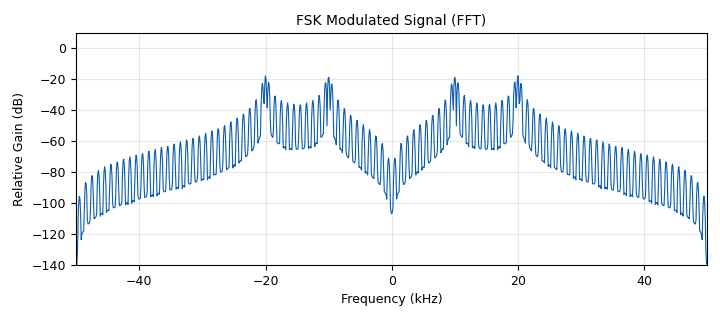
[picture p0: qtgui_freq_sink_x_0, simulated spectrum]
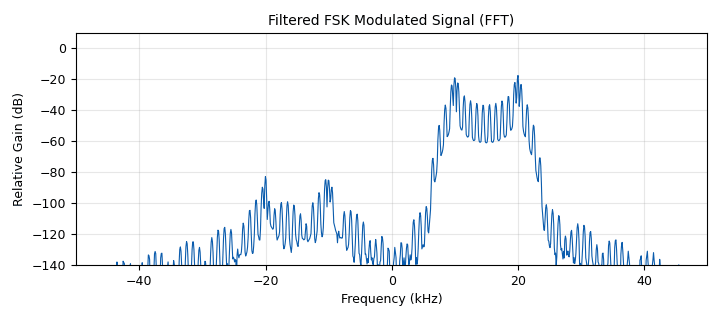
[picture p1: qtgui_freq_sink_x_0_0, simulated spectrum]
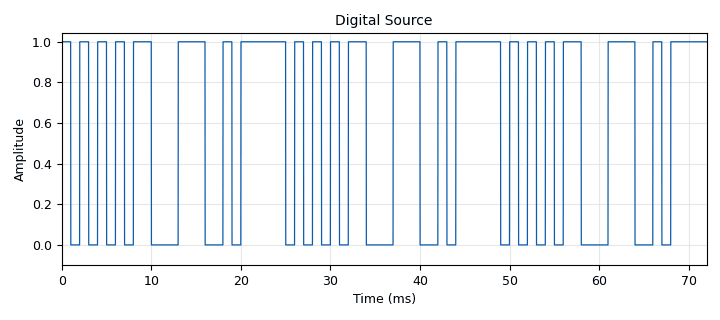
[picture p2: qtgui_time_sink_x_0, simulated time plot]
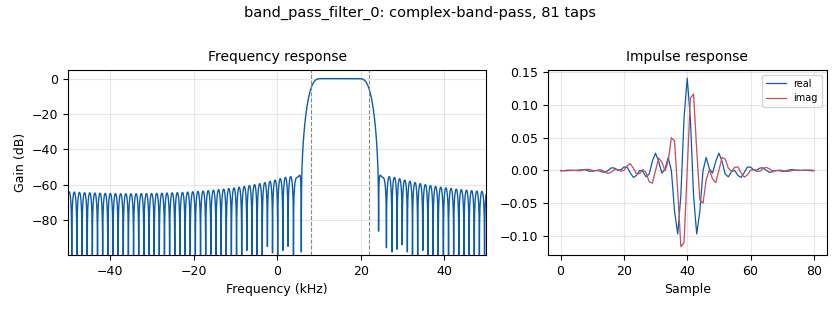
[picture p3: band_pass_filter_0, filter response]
options:
  parameters:
    author: sneak
    generate_options: qt_gui
    id: FSK_transmit
    output_language: python
    title: FSK transmit
  states: {}

blocks:
- name: bit_repeat
  id: variable
  parameters:
    value: '100'
  states: {}
- name: gain
  id: variable
  parameters:
    value: '1'
  states: {}
- name: num_src_bits
  id: variable
  parameters:
    comment: 8675309 as nibbles
    value: len(src_bits)
  states: {}
- name: original_src_bits
  id: variable
  parameters:
    comment: 8675309 as nibbles
    value: (1,0,0,0,0,1,1,0,0,1,0,1,0,0,1,1,0,0,0,0,1,0,0,1)
  states: {}
- name: samp_rate
  id: variable
  parameters:
    value: '100000'
  states: {}
- name: should_transmit
  id: variable_qtgui_check_box
  parameters:
    'false': '0.0'
    gui_hint: '[0, 0, 1, 1]'
    label: Transmit Message?
    'true': '1.0'
    type: real
    value: '1.0'
  states: {}
- name: src_bits
  id: variable
  parameters:
    comment: 8675309 as nibbles
    value: (1,0,1,0,1,0,1,0,1,1,0,0,0,1,1,1,0,0,1,0,1,1,1,1)
  states: {}
- name: tx_freq
  id: variable
  parameters:
    value: 903.1e6
  states: {}
- name: tx_gain
  id: variable_qtgui_range
  parameters:
    gui_hint: '[0,1,1,2]'
    start: '1'
    step: '1'
    stop: '90'
    value: '50'
    widget: eng_slider
  states: {}
- name: tx_shift
  id: variable
  parameters:
    value: 10e3
  states: {}
- name: upsamp_rate
  id: variable
  parameters:
    value: samp_rate*1
  states: {}
- name: variable_band_pass_filter_taps_0
  id: variable_band_pass_filter_taps
  parameters:
    gain: '1.0'
    high_cutoff_freq: '22000'
    low_cutoff_freq: '8000'
    samp_rate: samp_rate
    type: complex_band_pass
    width: '3000'
    win: window.WIN_HAMMING
  states: {state: disabled}
- name: analog_const_source_x_0_0
  id: analog_const_source_x
  parameters:
    const: '1'
    type: float
  states: {}
- name: analog_sig_source_x_0_0
  id: analog_sig_source_x
  parameters:
    amp: gain
    comment: 1's
    freq: '20000'
    offset: '0'
    phase: '0'
    samp_rate: samp_rate
    type: float
    waveform: analog.GR_COS_WAVE
  states: {}
- name: analog_sig_source_x_0_0_0
  id: analog_sig_source_x
  parameters:
    amp: gain
    comment: 0's
    freq: '10000'
    offset: '0'
    phase: '0'
    samp_rate: samp_rate
    type: float
    waveform: analog.GR_COS_WAVE
  states: {}
- name: band_pass_filter_0
  id: band_pass_filter
  parameters:
    decim: '1'
    gain: '1'
    high_cutoff_freq: '22000'
    low_cutoff_freq: '8000'
    samp_rate: samp_rate
    type: fir_filter_ccc
    width: '3000'
    win: window.WIN_HAMMING
  states: {}
- name: blocks_add_xx_0
  id: blocks_add_xx
  parameters:
    comment: |-
      high = 20 kHz
      low = 10 kHz
    type: float
  states: {}
- name: blocks_float_to_complex_0
  id: blocks_float_to_complex
  parameters: {}
  states: {}
- name: blocks_multiply_const_vxx_0
  id: blocks_multiply_const_vxx
  parameters:
    comment: TX/no-TX gate
    const: should_transmit
    type: float
  states: {}
- name: blocks_multiply_xx_0_0
  id: blocks_multiply_xx
  parameters:
    type: float
  states: {}
- name: blocks_multiply_xx_0_0_0
  id: blocks_multiply_xx
  parameters:
    type: float
  states: {}
- name: blocks_repeat_0
  id: blocks_repeat
  parameters:
    comment: 2400 samples
    interp: bit_repeat
    type: float
  states: {}
- name: blocks_sub_xx_0
  id: blocks_sub_xx
  parameters:
    type: float
  states: {}
- name: blocks_vector_source_x_0
  id: blocks_vector_source_x
  parameters:
    repeat: 'True'
    type: float
    vector: src_bits
  states: {}
- name: iio_pluto_sink_0
  id: iio_pluto_sink
  parameters:
    attenuation1: 89-tx_gain
    bandwidth: upsamp_rate
    buffer_size: '32768'
    cyclic: 'False'
    filter_source: '''Auto'''
    frequency: int(tx_freq)
    samplerate: upsamp_rate
    type: fc32
  states: {state: disabled}
- name: interp_fir_filter_xxx_0
  id: interp_fir_filter_xxx
  parameters:
    interp: '1'
    type: ccc
  states: {state: disabled}
- name: qtgui_freq_sink_x_0
  id: qtgui_freq_sink_x
  parameters:
    bw: samp_rate
    fc: '0'
    fftsize: '1024'
    gui_hint: tab@1
    name: FSK Modulated Signal (FFT)
    type: complex
  states: {}
- name: qtgui_freq_sink_x_0_0
  id: qtgui_freq_sink_x
  parameters:
    bw: samp_rate
    fc: '0'
    fftsize: '1024'
    gui_hint: tab@2
    name: Filtered FSK Modulated Signal (FFT)
    type: complex
  states: {}
- name: qtgui_time_sink_x_0
  id: qtgui_time_sink_x
  parameters:
    gui_hint: tab@0
    name: Digital Source
    size: num_src_bits*bit_repeat*3
    srate: samp_rate
    tr_delay: '100e-6'
    type: float
    ymin: '-0.1'
  states: {}
- name: qtgui_time_sink_x_1
  id: qtgui_time_sink_x
  parameters:
    gui_hint: 'tab@0: [1,1,1,2]'
    name: FSK Modulated Signal
    size: '16384'
    srate: samp_rate
    tr_delay: '0.1e-3'
    tr_level: '500'
    tr_mode: qtgui.TRIG_MODE_AUTO
    type: complex
    ymax: '1100'
    ymin: '-1100'
  states: {state: disabled}
- name: tab
  id: qtgui_tab_widget
  parameters:
    label0: digital source
    label1: D/A
    label2: TX-ready data
    num_tabs: '3'
  states: {}
- name: uhd_usrp_sink_0
  id: uhd_usrp_sink
  parameters:
    ant0: '"TX/RX"'
    center_freq0: int(tx_freq)
    dev_addr: '"serial=3213618"'
    gain0: tx_gain
    samp_rate: upsamp_rate
    sync: none
    type: fc32
  states: {}
- name: virtual_sink_0
  id: virtual_sink
  parameters:
    stream_id: fsk_mod_source
  states: {}
- name: virtual_sink_0_0
  id: virtual_sink
  parameters:
    stream_id: filtered_fsk_mod
  states: {}
- name: virtual_sink_1
  id: virtual_sink
  parameters:
    stream_id: baseband
  states: {}
- name: virtual_sink_1_0
  id: virtual_sink
  parameters:
    stream_id: repeated_bits
  states: {}
- name: virtual_source_0_0
  id: virtual_source
  parameters:
    stream_id: filtered_fsk_mod
  states: {}
- name: virtual_source_0_0_0
  id: virtual_source
  parameters:
    stream_id: fsk_mod_source
  states: {}
- name: virtual_source_1
  id: virtual_source
  parameters:
    stream_id: baseband
  states: {}
- name: virtual_source_2
  id: virtual_source
  parameters:
    stream_id: repeated_bits
  states: {}
- name: virtual_source_2_0
  id: virtual_source
  parameters:
    stream_id: repeated_bits
  states: {}

connections:
- [analog_const_source_x_0_0, '0', blocks_sub_xx_0, '0']
- [analog_sig_source_x_0_0, '0', blocks_multiply_xx_0_0, '1']
- [analog_sig_source_x_0_0_0, '0', blocks_multiply_xx_0_0_0, '1']
- [band_pass_filter_0, '0', qtgui_freq_sink_x_0_0, '0']
- [band_pass_filter_0, '0', virtual_sink_0_0, '0']
- [blocks_add_xx_0, '0', blocks_multiply_const_vxx_0, '0']
- [blocks_float_to_complex_0, '0', qtgui_freq_sink_x_0, '0']
- [blocks_float_to_complex_0, '0', qtgui_time_sink_x_1, '0']
- [blocks_float_to_complex_0, '0', virtual_sink_0, '0']
- [blocks_multiply_const_vxx_0, '0', virtual_sink_1, '0']
- [blocks_multiply_xx_0_0, '0', blocks_add_xx_0, '0']
- [blocks_multiply_xx_0_0_0, '0', blocks_add_xx_0, '1']
- [blocks_repeat_0, '0', qtgui_time_sink_x_0, '0']
- [blocks_repeat_0, '0', virtual_sink_1_0, '0']
- [blocks_sub_xx_0, '0', blocks_multiply_xx_0_0_0, '0']
- [blocks_vector_source_x_0, '0', blocks_repeat_0, '0']
- [virtual_source_0_0, '0', uhd_usrp_sink_0, '0']
- [virtual_source_0_0_0, '0', band_pass_filter_0, '0']
- [virtual_source_1, '0', blocks_float_to_complex_0, '0']
- [virtual_source_1, '0', blocks_float_to_complex_0, '1']
- [virtual_source_2, '0', blocks_multiply_xx_0_0, '0']
- [virtual_source_2_0, '0', blocks_sub_xx_0, '1']

metadata:
  file_format: 1
  grc_version: 3.10.9.2
